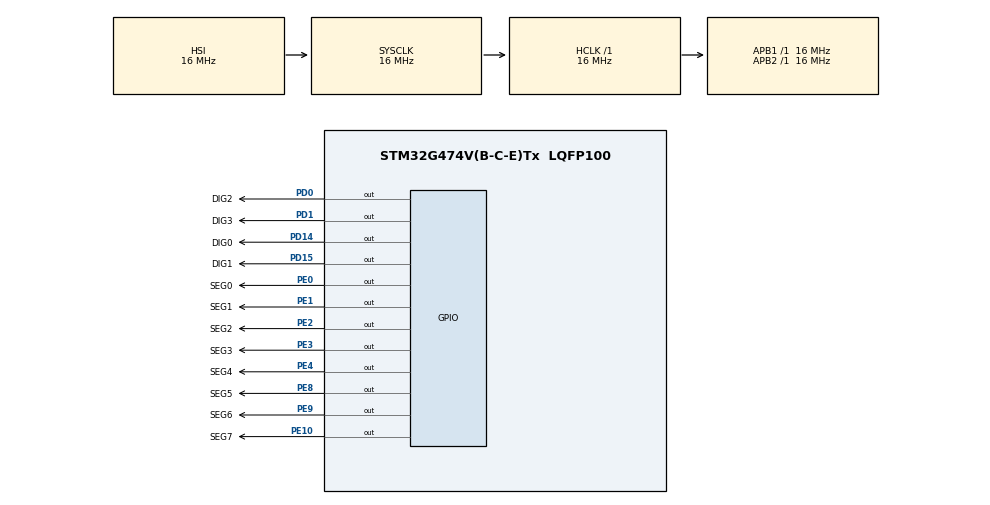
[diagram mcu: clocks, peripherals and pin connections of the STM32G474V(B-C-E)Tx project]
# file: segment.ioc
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Mcu.Family=STM32G4
Mcu.Name=STM32G474V(B-C-E)Tx
Mcu.Package=LQFP100
NVIC.PriorityGroup=NVIC_PRIORITYGROUP_4
PA13.Mode=Serial_Wire
PA13.Signal=SYS_JTMS-SWDIO
PA14.Mode=Serial_Wire
PA14.Signal=SYS_JTCK-SWCLK
PD0.GPIO_Label=DIG2
PD0.Signal=GPIO_Output
PD1.GPIO_Label=DIG3
PD1.Signal=GPIO_Output
PD14.GPIO_Label=DIG0
PD14.Signal=GPIO_Output
PD15.GPIO_Label=DIG1
PD15.Signal=GPIO_Output
PE0.GPIO_Label=SEG0
PE0.Signal=GPIO_Output
PE1.GPIO_Label=SEG1
PE1.Signal=GPIO_Output
PE10.GPIO_Label=SEG7
PE10.Signal=GPIO_Output
PE2.GPIO_Label=SEG2
PE2.Signal=GPIO_Output
PE3.GPIO_Label=SEG3
PE3.Signal=GPIO_Output
PE4.GPIO_Label=SEG4
PE4.Signal=GPIO_Output
PE8.GPIO_Label=SEG5
PE8.Signal=GPIO_Output
PE9.GPIO_Label=SEG6
PE9.Signal=GPIO_Output
ProjectManager.HeapSize=0x200
ProjectManager.StackSize=0x400
ProjectManager.TargetToolchain=STM32CubeIDE
RCC.AHBFreq_Value=16000000
RCC.APB1Freq_Value=16000000
RCC.APB1TimFreq_Value=16000000
RCC.APB2Freq_Value=16000000
RCC.APB2TimFreq_Value=16000000
RCC.CortexFreq_Value=16000000
RCC.EXTERNAL_CLOCK_VALUE=12288000
RCC.HCLKFreq_Value=16000000
RCC.HSE_VALUE=8000000
RCC.HSI48_VALUE=48000000
RCC.HSI_VALUE=16000000
RCC.LSE_VALUE=32768
RCC.SYSCLKFreq_VALUE=16000000
RCC.USBFreq_Value=64000000
RCC.VCOOutputFreq_Value=128000000
VP_SYS_VS_DBSignals.Mode=DisableDeadBatterySignals
board=custom

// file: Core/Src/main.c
/* USER CODE BEGIN Header */
/**
  ******************************************************************************
  * @file           : main.c
  * @brief          : Main program body
  ******************************************************************************
  * @attention
  *
  * Copyright (c) 2025 STMicroelectronics.
  * All rights reserved.
  *
  * This software is licensed under terms that can be found in the LICENSE file
  * in the root directory of this software component.
  * If no LICENSE file comes with this software, it is provided AS-IS.
  *
  ******************************************************************************
  */
/* USER CODE END Header */
#include "main.h"

void SystemClock_Config(void);
static void MX_GPIO_Init(void);

/* USER CODE BEGIN 0 */
uint8_t code[] ={
		0x3F,0x06,0x5B,0x4F,
		0x66,0x6D,0x7D,0x07,
		0x7F,0x67,0x77,0x7C,
		0x39,0x5E,0x79,0x71
};
void set_segment_direct(uint8_t segs){
	HAL_GPIO_WritePin(SEG0_GPIO_Port, SEG0_Pin, segs & (1<<0) ? GPIO_PIN_SET : GPIO_PIN_RESET);
	HAL_GPIO_WritePin(SEG1_GPIO_Port, SEG1_Pin, segs & (1<<1) ? GPIO_PIN_SET : GPIO_PIN_RESET);
	HAL_GPIO_WritePin(SEG2_GPIO_Port, SEG2_Pin, segs & (1<<2) ? GPIO_PIN_SET : GPIO_PIN_RESET);
	HAL_GPIO_WritePin(SEG3_GPIO_Port, SEG3_Pin, segs & (1<<3) ? GPIO_PIN_SET : GPIO_PIN_RESET);
	HAL_GPIO_WritePin(SEG4_GPIO_Port, SEG4_Pin, segs & (1<<4) ? GPIO_PIN_SET : GPIO_PIN_RESET);
	HAL_GPIO_WritePin(SEG5_GPIO_Port, SEG5_Pin, segs & (1<<5) ? GPIO_PIN_SET : GPIO_PIN_RESET);
	HAL_GPIO_WritePin(SEG6_GPIO_Port, SEG6_Pin, segs & (1<<6) ? GPIO_PIN_SET : GPIO_PIN_RESET);
	HAL_GPIO_WritePin(SEG7_GPIO_Port, SEG7_Pin, segs & (1<<7) ? GPIO_PIN_SET : GPIO_PIN_RESET);
}
void display(int number) {
	if(number>=16)return;
	set_segment_direct(code[number]);
}

void set_digit(int8_t which)
{
  HAL_GPIO_WritePin(DIG0_GPIO_Port, DIG0_Pin, GPIO_PIN_RESET);
  HAL_GPIO_WritePin(DIG1_GPIO_Port, DIG1_Pin, GPIO_PIN_RESET);
  HAL_GPIO_WritePin(DIG2_GPIO_Port, DIG2_Pin, GPIO_PIN_RESET);
  HAL_GPIO_WritePin(DIG3_GPIO_Port, DIG3_Pin, GPIO_PIN_RESET);
  switch (which)
  {
  case 0:HAL_GPIO_WritePin(DIG0_GPIO_Port, DIG0_Pin, GPIO_PIN_SET);break;
  case 1:HAL_GPIO_WritePin(DIG1_GPIO_Port, DIG1_Pin, GPIO_PIN_SET);break;
  case 2:HAL_GPIO_WritePin(DIG2_GPIO_Port, DIG2_Pin, GPIO_PIN_SET);break;
  case 3:HAL_GPIO_WritePin(DIG3_GPIO_Port, DIG3_Pin, GPIO_PIN_SET);break;
  }
}

/* USER CODE END 0 */

int main(void)
{

  /* MCU Configuration--------------------------------------------------------*/

  /* Reset of all peripherals, Initializes the Flash interface and the Systick. */
  HAL_Init();

  /* Configure the system clock */
  SystemClock_Config();

  /* Initialize all configured peripherals */
  MX_GPIO_Init();
  /* USER CODE BEGIN 2 */

  int delay = 0;
  int period = 0;
  uint8_t numbers[]={10,3,2,1};
  /* USER CODE END 2 */

  /* Infinite loop */
  while (1)
  {

    /* USER CODE BEGIN 3 */
  	set_digit(-1);
  	display(numbers[period]);
  	set_digit(period);
  	HAL_Delay(delay);

  	++period;
  	if(period == 4)
  		period = 0;

  /* USER CODE END 3 */
}
}

void SystemClock_Config(void)
{
  RCC_OscInitTypeDef RCC_OscInitStruct = {0};
  RCC_ClkInitTypeDef RCC_ClkInitStruct = {0};

  /** Configure the main internal regulator output voltage
  */
  HAL_PWREx_ControlVoltageScaling(PWR_REGULATOR_VOLTAGE_SCALE1);

  /** Initializes the RCC Oscillators according to the specified parameters
  * in the RCC_OscInitTypeDef structure.
  */
  RCC_OscInitStruct.OscillatorType = RCC_OSCILLATORTYPE_HSI;
  RCC_OscInitStruct.HSIState = RCC_HSI_ON;
  RCC_OscInitStruct.HSICalibrationValue = RCC_HSICALIBRATION_DEFAULT;
  RCC_OscInitStruct.PLL.PLLState = RCC_PLL_NONE;
  if (HAL_RCC_OscConfig(&RCC_OscInitStruct) != HAL_OK)
  {
    Error_Handler();
  }

  /** Initializes the CPU, AHB and APB buses clocks
  */
  RCC_ClkInitStruct.ClockType = RCC_CLOCKTYPE_HCLK|RCC_CLOCKTYPE_SYSCLK
                              |RCC_CLOCKTYPE_PCLK1|RCC_CLOCKTYPE_PCLK2;
  RCC_ClkInitStruct.SYSCLKSource = RCC_SYSCLKSOURCE_HSI;
  RCC_ClkInitStruct.AHBCLKDivider = RCC_SYSCLK_DIV1;
  RCC_ClkInitStruct.APB1CLKDivider = RCC_HCLK_DIV1;
  RCC_ClkInitStruct.APB2CLKDivider = RCC_HCLK_DIV1;

  if (HAL_RCC_ClockConfig(&RCC_ClkInitStruct, FLASH_LATENCY_0) != HAL_OK)
  {
    Error_Handler();
  }
}

static void MX_GPIO_Init(void)
{
  GPIO_InitTypeDef GPIO_InitStruct = {0};

  /* GPIO Ports Clock Enable */
  __HAL_RCC_GPIOE_CLK_ENABLE();
  __HAL_RCC_GPIOD_CLK_ENABLE();
  __HAL_RCC_GPIOA_CLK_ENABLE();

  /*Configure GPIO pin Output Level */
  HAL_GPIO_WritePin(GPIOE, SEG2_Pin|SEG3_Pin|SEG4_Pin|SEG5_Pin
                          |SEG6_Pin|SEG7_Pin|SEG0_Pin|SEG1_Pin, GPIO_PIN_RESET);

  /*Configure GPIO pin Output Level */
  HAL_GPIO_WritePin(GPIOD, DIG0_Pin|DIG1_Pin|DIG2_Pin|DIG3_Pin, GPIO_PIN_RESET);

  /*Configure GPIO pins : SEG2_Pin SEG3_Pin SEG4_Pin SEG5_Pin
                           SEG6_Pin SEG7_Pin SEG0_Pin SEG1_Pin */
  GPIO_InitStruct.Pin = SEG2_Pin|SEG3_Pin|SEG4_Pin|SEG5_Pin
                          |SEG6_Pin|SEG7_Pin|SEG0_Pin|SEG1_Pin;
  GPIO_InitStruct.Mode = GPIO_MODE_OUTPUT_PP;
  GPIO_InitStruct.Pull = GPIO_NOPULL;
  GPIO_InitStruct.Speed = GPIO_SPEED_FREQ_LOW;
  HAL_GPIO_Init(GPIOE, &GPIO_InitStruct);

  /*Configure GPIO pins : DIG0_Pin DIG1_Pin DIG2_Pin DIG3_Pin */
  GPIO_InitStruct.Pin = DIG0_Pin|DIG1_Pin|DIG2_Pin|DIG3_Pin;
  GPIO_InitStruct.Mode = GPIO_MODE_OUTPUT_PP;
  GPIO_InitStruct.Pull = GPIO_NOPULL;
  GPIO_InitStruct.Speed = GPIO_SPEED_FREQ_LOW;
  HAL_GPIO_Init(GPIOD, &GPIO_InitStruct);

}

void Error_Handler(void)
{
  __disable_irq();
  while (1)
  {
  }
}
